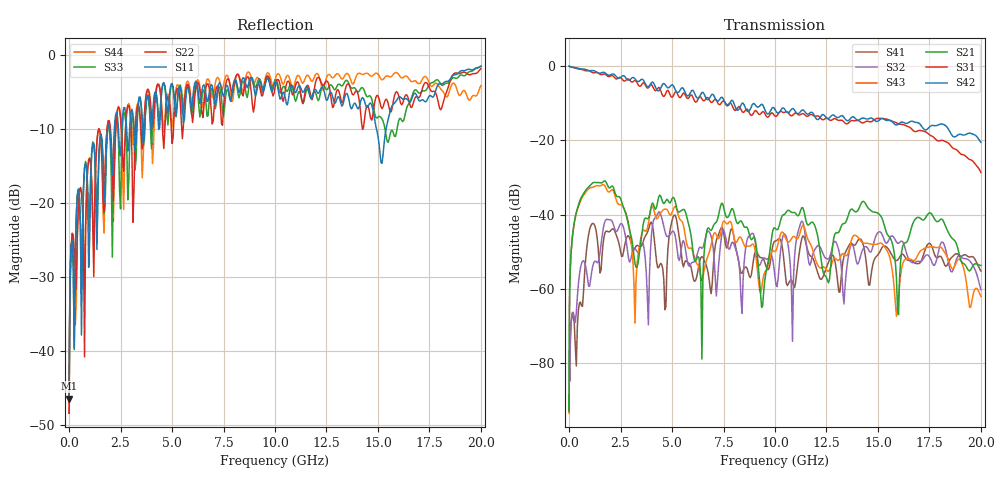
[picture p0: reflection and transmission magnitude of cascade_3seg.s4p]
! 完整通道 S 參數——由 PCB SI 3D 模擬分析工具（功能3 電路串接）產生
! Port[1] = U14.23.ST_CTL
! Port[2] = U14.59.ST_ERROR
! Port[3] = U22.8.ST_CTL
! Port[4] = U22.12.ST_ERROR
! Touchstone file exported from Ansys Full-Wave Spice
! Project: segment_1
!  Design: unknown
! Creation time: Mon Aug 17 19:13:20 2026
! Notes: Touchstone(R) file created by SIwave 2026 R1
!  : Touchstone(R) file created on Mon Aug 17 19:13:20 2026
!  : Design: siwave_board0
!  : Path:
!  : *** SIwave SYZ Simulation Settings ***
!  : SI/PI Main
!  :  SI Simulation -  Balanced
!  : SI/PI Advanced
!  :  Coupling
!  :  Coplane: On
!  :  Intra-plane: Off
!  :  Split-plane: On
!  :  Cavity field: On
!  :  Trace: On
!  :  Cross-talk threshold: -34dB
!  :  Max. coupled lines: 12
!  :  Geometry Processing
!  :  Void area threshold: 2mm^2
!  :  Pad area threshold: 1mm^2
!  :  Planes area threshold: 6.25E-06mm^2
!  :  Vertex snap distance threshold: 0.0025mm
!  :  Mesh Refinement
!  :  Auto
!  :  AC/DC Merge
!  :  Default
!  :  Trace return current distribution: Off
!  :  Include voltage/current source parasitics: No
!  :  Add infinite ground plane: No
!  :  Exclude non-functional pads: Yes
!  : Temperature
!  :  Uniform distribution: 20cel
!  : Net Processing
!  :  Auto select nets
!  : S-parameter Modeling
!  :  State Space Model
!  : Sweep
!  :  Name: segment_1_SYZ
!  :  AC/DC Merge: Off
!  :  Interpolating Sweep
!  :  Relative error for S: 0.001
!  :  Frequency Point Distribution:
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# Hz S MA R 50.0
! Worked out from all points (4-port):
!   559 points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, 1 Hz to 20 GHz, reference 50 ohm
!   strongest paths, dB at 1 Hz, 8.913 MHz, 6.05 GHz, 13.05 GHz, 20 GHz:
!     S42: 0.0, -0.1, -6.8, -13.9, -20.5
!     S31: 0.0, -0.1, -8.9, -14.6, -28.7
!     S21: -88.6, -70.6, -51.4, -44.9, -53.7
!     S43: -88.6, -70.6, -50.9, -52.4, -62.0
!     S32: -88.6, -81.5, -52.8, -48.7, -60.3
!     S41: -88.6, -81.5, -57.7, -58.4, -55.2
!   lowest |S11| = -46.4 dB at 63.1 Hz (marker M1), VSWR 1.01, Z = 50.5 + j2.62e-07 ohm
!   |S11| at or under -10 dB: start of sweep to 1.868 GHz; 1.97 GHz to 2.197 GHz (226.5 MHz wide, 10.9 % of centre); 14.93 GHz to 15.39 GHz (464.5 MHz wide, 3.06 % of centre)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
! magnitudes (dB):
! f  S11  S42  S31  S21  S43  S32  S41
! 1 Hz  -46.4  0.0  0.0  -88.6  -88.6  -88.6  -88.6
! 63.1 Hz  -46.4  0.0  0.0  -88.6  -88.6  -88.6  -88.6
! 100 MHz  -25.7  -0.2  -0.3  -49.8  -50.0  -68.6  -69.0
! 1.2 GHz  -12.0  -1.2  -1.8  -31.4  -32.5  -52.9  -42.5
! 3.2 GHz  -12.9  -3.4  -3.9  -53.2  -69.2  -49.1  -49.1
! 5.15 GHz  -7.5  -6.3  -7.0  -36.4  -37.9  -45.6  -40.2
! 20 GHz  -1.5  -20.5  -28.7  -53.7  -62.0  -60.3  -55.2
